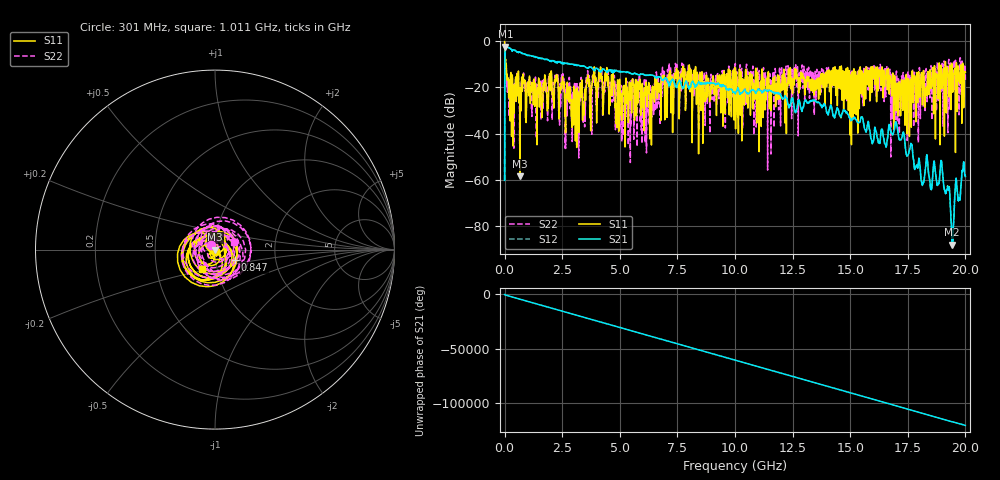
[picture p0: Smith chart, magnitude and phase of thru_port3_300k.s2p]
! MS46122B
! 2250307/22442219
! 2/13/2026 1:46:57 PM
! C:\USERS\SPARKY\DOCUMENTS\VNA_DATA\FEB13_2026\THRU_PORT3_300K.S2P
! CHANNEL.1
! TR.MEASUREMENT
! RAW.DATA
# GHZ S RI R 50.0
! FREQ.GHZ  S11RE  S11IM  S21RE  S21IM  S12RE  S12IM  S22RE  S22IM
!; PortSelection: Port_12
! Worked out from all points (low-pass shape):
!   10001 points, 1 MHz to 20 GHz, reference 50 ohm
!   highest |S21| = -2.27 dB at 33 MHz (marker M1); lowest = -88.3 dB at 19.43 GHz (marker M2)
!   |S21| within 3 dB of the highest: 8.983 MHz to 9.15 MHz (166.9 kHz wide, 1.84 % of centre); 19.18 MHz to 778.8 MHz (759.6 MHz wide, 190 % of centre)
!   lowest |S11| = -58.6 dB at 667 MHz (marker M3), VSWR 1.00, Z = 50.1 + j0.0398 ohm
!   |S11| at or under -10 dB: 73.17 MHz to 18.85 GHz (18.77 GHz wide, 198 % of centre); 19.15 GHz to 19.4 GHz (252.4 MHz wide, 1.31 % of centre); 19.62 GHz to 19.87 GHz (253.3 MHz wide, 1.28 % of centre) (the widest 3 of 7)
!   |S22| runs from -55.8 to -0.1 dB; largest |S21 - S12| = 0.057
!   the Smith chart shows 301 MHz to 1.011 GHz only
!   S11 on the Smith chart (normalised r, x): 301 MHz: 0.99, -0.02; 847 MHz: 1.25, -0.14; 1.011 GHz: 0.85, -0.18
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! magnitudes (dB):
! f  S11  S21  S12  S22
! 1 MHz  0.4  -60.3  -60.3  -0.1
! 33 MHz  -8.4  -2.3  -2.6  -11.6
! 107 MHz  -14.7  -2.5  -2.5  -14.7
! 301 MHz  -41.2  -3.4  -3.3  -29.1
! 667 MHz  -58.6  -4.7  -4.6  -25.0
! 847 MHz  -18.0  -5.5  -5.4  -18.8
! 1.011 GHz  -17.9  -6.1  -6.0  -18.9
! 3.335 GHz  -19.0  -10.7  -10.7  -16.4
! 4.141 GHz  -14.0  -12.8  -12.8  -15.0
! 5.177 GHz  -21.5  -13.2  -13.2  -33.8
! 6.669 GHz  -19.5  -15.3  -15.3  -24.4
! 7.311 GHz  -25.2  -16.6  -16.5  -23.0
! 7.447 GHz  -12.7  -19.8  -19.6  -13.4
! 9.105 GHz  -23.1  -18.2  -18.1  -25.6
! 10 GHz  -11.9  -22.6  -22.7  -10.3
! 13.33 GHz  -16.3  -26.0  -25.7  -13.9
! 16.67 GHz  -13.0  -37.2  -37.2  -13.3
! 17.01 GHz  -21.2  -35.3  -35.6  -12.9
! 18.14 GHz  -22.4  -61.9  -62.1  -18.3
! 18.97 GHz  -15.5  -52.5  -52.5  -13.6
! 19.43 GHz  -12.0  -88.3  -88.2  -15.3
! 20 GHz  -13.4  -58.5  -59.0  -17.4
